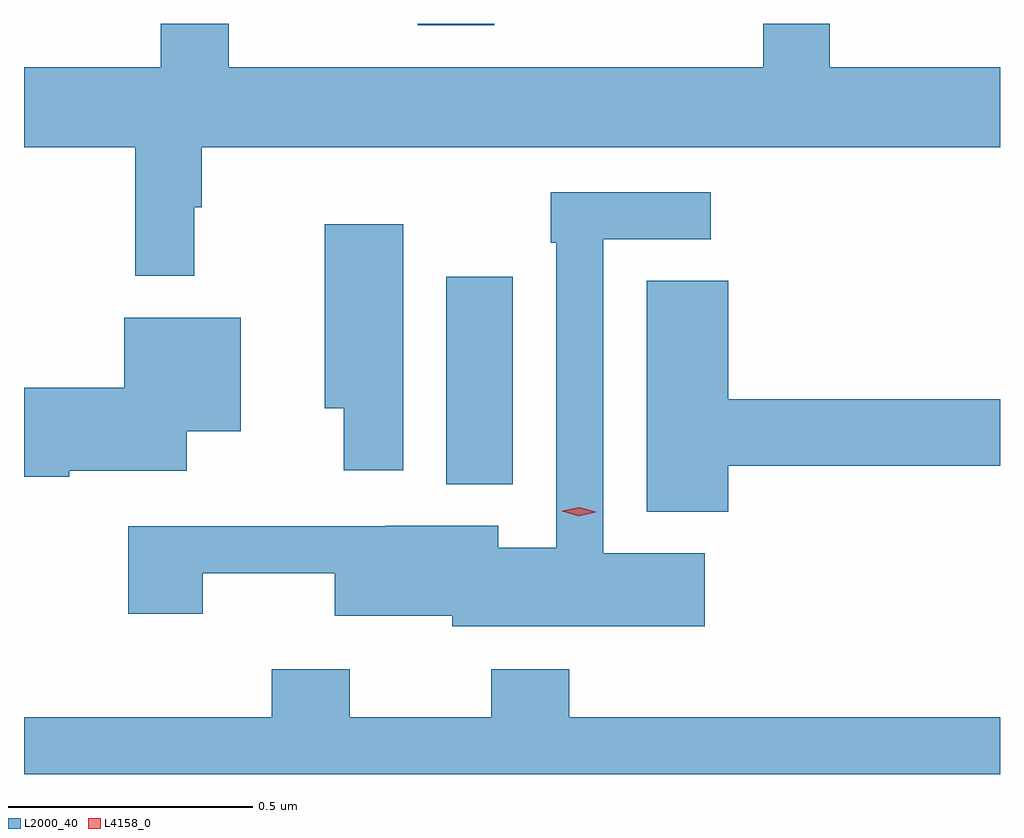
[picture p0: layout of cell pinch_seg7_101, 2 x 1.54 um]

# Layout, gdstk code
import gdstk
lib = gdstk.Library(unit=1e-6, precision=1e-09)
def R(c, l, rs):  # rectangles x0, y0, x1, y1
    for r in rs: c.add(gdstk.rectangle(r[:2], r[2:], *l))
def P(c, l, *ps):  # polygons
    for p in ps: c.add(gdstk.Polygon(p, *l))
L2000_40 = (2000, 40)
L4158_0 = (4158, 0)

pinch_seg7_101 = lib.new_cell('pinch_seg7_101')
R(pinch_seg7_101, L2000_40, [(976.538,998.594,976.675,999.019), (976.48,999.534,976.637,999.537)])
P(pinch_seg7_101, L2000_40, [(976.022,999.161),(976.037,999.161),(976.037,999.284),(977.673,999.284),(977.673,999.448),(977.324,999.448),(977.324,999.537),(977.188,999.537),(977.188,999.448),(976.093,999.448),(976.093,999.537),(975.953,999.537),(975.953,999.448),(975.673,999.448),(975.673,999.284),(975.901,999.284),(975.901,999.021),(976.022,999.021)],
  [(977.068,998.452),(976.86,998.452),(976.86,999.096),(977.08,999.096),(977.08,999.192),(976.752,999.192),(976.752,999.089),(976.764,999.089),(976.764,998.464),(976.645,998.464),(976.645,998.509),(976.414,998.509),(976.414,998.508),(975.887,998.508),(975.887,998.328),(976.039,998.328),(976.039,998.411),(976.31,998.411),(976.31,998.324),(976.551,998.324),(976.551,998.303),(977.068,998.303)],
  [(976.45,999.127),(976.289,999.127),(976.289,998.75),(976.328,998.75),(976.328,998.622),(976.45,998.622)],
  [(977.116,998.632),(977.673,998.632),(977.673,998.768),(977.116,998.768),(977.116,999.011),(976.949,999.011),(976.949,998.537),(977.116,998.537)],
  [(975.766,998.621),(976.006,998.621),(976.006,998.702),(976.117,998.702),(976.117,998.935),(975.878,998.935),(975.878,998.792),(975.673,998.792),(975.673,998.609),(975.766,998.609)],
  [(977.673,998.116),(976.79,998.116),(976.79,998.215),(976.63,998.215),(976.63,998.116),(976.341,998.116),(976.341,998.215),(976.181,998.215),(976.181,998.116),(975.673,998.116),(975.673,998),(977.673,998)])
P(pinch_seg7_101, L4158_0, [(976.81,998.528),(976.776,998.538),(976.776,998.538),(976.776,998.539),(976.811,998.547),(976.845,998.537),(976.846,998.537),(976.845,998.536)])

lib.write_gds('pinch_seg7_101.gds')
